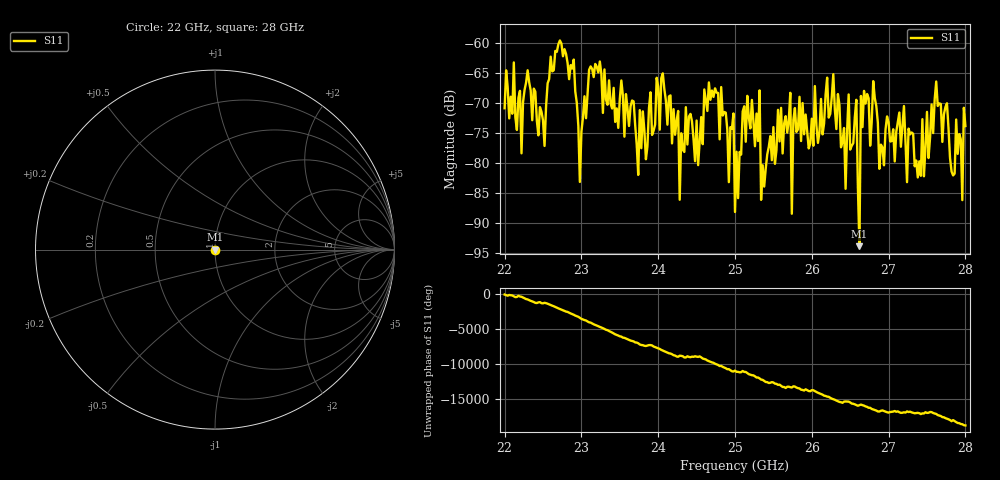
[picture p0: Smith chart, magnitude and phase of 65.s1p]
#  HZ  S  RI  R  50.00
! Rohde & Schwarz ZVA40 4Ports - Version 3.90 - 1145.1110k42 SN: 100403
! Date: 2023-10-04 09:00:55
! Measurement: S12
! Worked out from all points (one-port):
!   301 points, 22 GHz to 28 GHz, reference 50 ohm
!   lowest |S11| = -93.9 dB at 26.62 GHz (marker M1), VSWR 1.00, Z = 50 + j4.79e-05 ohm
!   |S11| at or under -10 dB: start of sweep to end of sweep
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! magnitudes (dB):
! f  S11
! 22 GHz  -70.9
! 22.12 GHz  -63.3
! 22.22 GHz  -78.4
! 22.3 GHz  -64.6
! 22.52 GHz  -77.2
! 22.6 GHz  -62.3
! 22.76 GHz  -62.2
! 22.9 GHz  -62.8
! 22.98 GHz  -83.2
! 23.12 GHz  -63.9
! 23.5 GHz  -69.4
! 23.74 GHz  -82.0
! 23.98 GHz  -65.8
! 24.26 GHz  -71.3
! 24.52 GHz  -80.4
! 24.82 GHz  -67.4
! 25 GHz  -88.2
! 25.16 GHz  -68.8
! 25.34 GHz  -86.2
! 25.76 GHz  -72.8
! 26.28 GHz  -65.2
! 26.5 GHz  -77.8
! 26.58 GHz  -69.5
! 26.62 GHz  -93.9
! 26.8 GHz  -66.4
! 26.88 GHz  -81.0
! 27.26 GHz  -74.3
! 28 GHz  -73.9
